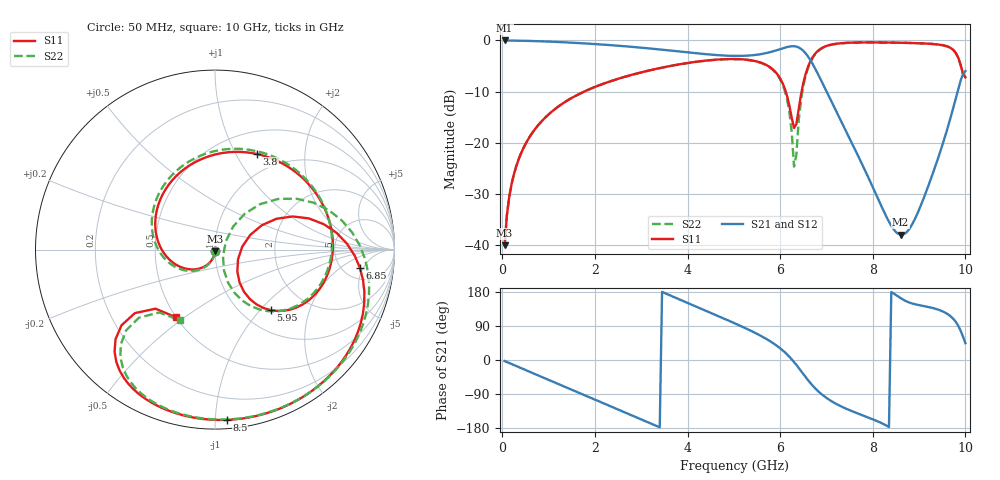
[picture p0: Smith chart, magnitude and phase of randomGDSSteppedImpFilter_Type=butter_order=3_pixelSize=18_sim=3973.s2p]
! freq	dB(S11)	phase(S11)	dB(S12)	phase(S12)
!  dB(S21)	phase(S21)	dB(S22)	phase(S22)
!S-par simulation data
#  GHz  S  DB  R 50
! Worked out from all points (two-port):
!   200 points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, 50 MHz to 10 GHz, reference 50 ohm
!   highest |S21| = -0.01 dB at 50 MHz (marker M1); lowest = -38.0 dB at 8.6 GHz (marker M2)
!   |S21| within 3 dB of the highest: start of sweep to 4.926 GHz; 5.216 GHz to 6.591 GHz (1.375 GHz wide, 23.3 % of centre)
!   lowest |S11| = -40.0 dB at 50 MHz (marker M3), VSWR 1.02, Z = 50 - j0.997 ohm
!   |S11| at or under -10 dB: start of sweep to 1.767 GHz; 6.12 GHz to 6.463 GHz (343.6 MHz wide, 5.46 % of centre)
!   |S22| runs from -40.2 to -0.4 dB; largest |S21 - S12| = 0
!   S11 on the Smith chart (normalised r, x): 50 MHz: 1.00, -0.02; 3.8 GHz: 0.76, +1.22; 5.95 GHz: 1.34, -1.15; 6.85 GHz: 7.11, -4.31; 8.5 GHz: 0.05, -1.07; 10 GHz: 0.50, -0.47
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0.05  -40.02 -91.8  -0.01 -2.7  -0.01 -2.7  -40.21 -91.8
0.2  -28.11 -101.0  -0.02 -10.6  -0.02 -10.6  -28.10 -100.3
0.5  -20.26 -117.8  -0.08 -26.3  -0.08 -26.3  -20.26 -115.8
1.15  -13.33 -153.4  -0.28 -60.3  -0.28 -60.3  -13.33 -148.8
1.75  -10.07 174.2  -0.57 -91.6  -0.57 -91.6  -10.08 -179.1
2.65  -7.09 126.3  -1.14 -138.4  -1.14 -138.4  -7.10 135.0
3.4  -5.40 86.9  -1.76 -177.7  -1.76 -177.7  -5.42 95.9
3.8  -4.71 66.2  -2.14 161.3  -2.14 161.3  -4.72 74.8
5.05  -3.64 3.0  -3.03 95.1  -3.03 95.1  -3.66 8.1
5.95  -6.74 -47.2  -1.85 35.7  -1.85 35.7  -6.89 -49.3
6.2  -12.78 -53.3  -1.20 8.5  -1.20 8.5  -14.01 -68.4
6.3  -17.12 -23.3  -1.14 -5.3  -1.14 -5.3  -24.66 -40.4
6.5  -8.33 26.6  -2.02 -37.0  -2.02 -37.0  -8.95 45.2
6.7  -3.29 7.8  -4.58 -67.4  -4.58 -67.4  -3.45 19.0
6.85  -1.79 -7.2  -7.17 -85.6  -7.17 -85.6  -1.87 1.8
7.5  -0.44 -48.8  -19.16 -132.5  -19.16 -132.5  -0.46 -43.6
8.35  -0.42 -81.2  -35.44 -176.9  -35.44 -176.9  -0.42 -77.5
8.5  -0.44 -86.1  -37.45 171.4  -37.45 171.4  -0.44 -82.6
8.6  -0.45 -89.3  -37.98 163.4  -37.98 163.4  -0.46 -85.9
9.05  -0.57 -103.8  -31.99 143.7  -31.99 143.7  -0.57 -100.7
9.75  -1.96 -134.5  -12.76 107.2  -12.76 107.2  -1.97 -131.4
10  -7.23 -119.8  -5.98 44.4  -5.98 44.4  -7.15 -116.2
